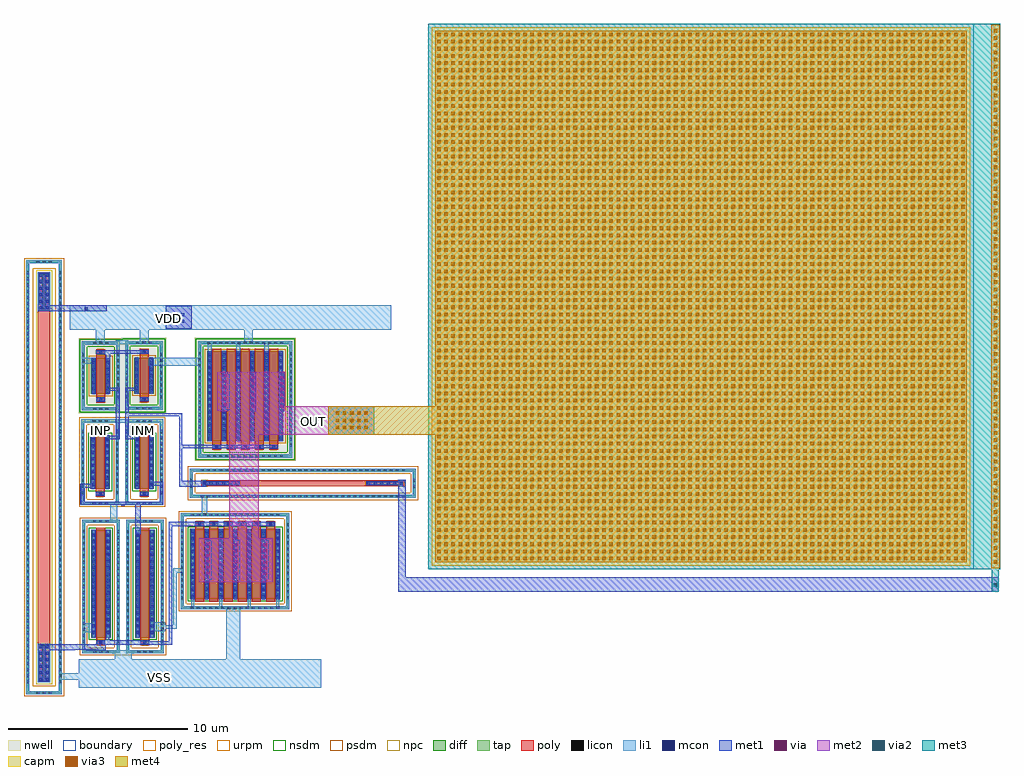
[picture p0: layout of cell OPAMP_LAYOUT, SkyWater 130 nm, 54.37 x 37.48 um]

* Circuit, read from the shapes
.subckt OPAMP_LAYOUT INM INP OUT VDD VSS
XM1 n1 INP n2 VSS sky130_fd_pr__nfet_01v8 w=3 l=0.5
XM2 n3 n3 VSS VSS sky130_fd_pr__nfet_01v8 w=6 l=0.5
XM3 n2 INM n4 VSS sky130_fd_pr__nfet_01v8 w=3 l=0.5
XM4 VSS n3 n2 VSS sky130_fd_pr__nfet_01v8 w=6 l=0.5
XM5 OUT n3 VSS VSS sky130_fd_pr__nfet_01v8 w=3.91 l=0.5 m=6
XM6 n1 n1 VDD VDD sky130_fd_pr__pfet_01v8 w=2 l=0.5
XM7 VDD n1 n4 VDD sky130_fd_pr__pfet_01v8 w=2 l=0.5
XM8 OUT n4 VDD VDD sky130_fd_pr__pfet_01v8 w=5 l=0.5 m=5
XC9 OUT n5 sky130_fd_pr__cap_mim_m3_1 w=30 l=30
XR10 VDD n3 VSS sky130_fd_pr__res_xhigh_po w=0.69 l=18.58
R11 n5 n4 sky130_fd_pr__res_generic_po w=0.33 l=7
.ends

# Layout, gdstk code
from math import pi, radians
import gdstk
lib = gdstk.Library(unit=1e-6, precision=1e-09)
def R(c, l, rs):  # rectangles x0, y0, x1, y1
    for r in rs: c.add(gdstk.rectangle(r[:2], r[2:], *l))
def A(c, l, x, y, w, h, nx, ny, dx, dy):  # array of equal rectangles
    R(c, l, [(x+i*dx, y+j*dy, x+i*dx+w, y+j*dy+h) for i in range(nx) for j in range(ny)])
nwell = (64, 20)
diff = (65, 20)
tap = (65, 44)
poly_res = (66, 13)
poly = (66, 20)
licon = (66, 44)
li1 = (67, 20)
mcon = (67, 44)
met1 = (68, 20)
via = (68, 44)
met2 = (69, 20)
via2 = (69, 44)
met3 = (70, 20)
via3 = (70, 44)
met4 = (71, 20)
urpm = (79, 20)
capm = (89, 44)
nsdm = (93, 44)
psdm = (94, 20)
npc = (95, 20)
boundary = (235, 4)

sky130_fd_pr__nfet_01v8_ = lib.new_cell('sky130_fd_pr__nfet_01v8_3374SR')
R(sky130_fd_pr__nfet_01v8_, diff, [(-0.54,-1.5,0.54,1.5)])
R(sky130_fd_pr__nfet_01v8_, tap, [(-1.05,-2.37,1.05,-2.2), (-1.05,-2.2,-0.88,2.2), (0.88,-2.2,1.05,2.2), (-1.05,2.2,1.05,2.37)])
R(sky130_fd_pr__nfet_01v8_, poly, [(-0.25,-1.94,0.25,1.94)])
A(sky130_fd_pr__nfet_01v8_, licon, -0.425, -2.37, 0.17, 0.17, 3, 2, 0.34, 4.57)
A(sky130_fd_pr__nfet_01v8_, licon, -1.05, -1.785, 0.17, 0.17, 1, 11, 0, 0.34)
A(sky130_fd_pr__nfet_01v8_, licon, 0.88, -1.785, 0.17, 0.17, 1, 11, 0, 0.34)
A(sky130_fd_pr__nfet_01v8_, licon, -0.48, -1.275, 0.17, 0.17, 1, 8, 0, 0.34)
A(sky130_fd_pr__nfet_01v8_, licon, 0.31, -1.275, 0.17, 0.17, 1, 8, 0, 0.34)
R(sky130_fd_pr__nfet_01v8_, licon, [(-0.085,-1.86,0.085,-1.69), (-0.085,1.69,0.085,1.86)])
R(sky130_fd_pr__nfet_01v8_, li1, [(-1.05,-2.37,1.05,-2.2), (-1.05,-2.2,-0.88,2.2), (0.88,-2.2,1.05,2.2), (-0.25,-1.86,0.25,-1.69), (-0.48,-1.52,-0.31,1.52), (0.31,-1.52,0.48,1.52), (-0.25,1.69,0.25,1.86), (-1.05,2.2,1.05,2.37)])
A(sky130_fd_pr__nfet_01v8_, mcon, -0.48, -1.345, 0.17, 0.17, 1, 8, 0, 0.36)
A(sky130_fd_pr__nfet_01v8_, mcon, 0.31, -1.345, 0.17, 0.17, 1, 8, 0, 0.36)
R(sky130_fd_pr__nfet_01v8_, mcon, [(-0.085,-1.86,0.085,-1.69), (-0.085,1.69,0.085,1.86)])
R(sky130_fd_pr__nfet_01v8_, met1, [(-0.23,-1.89,0.23,-1.66), (-0.51,-1.5,-0.28,1.5), (0.28,-1.5,0.51,1.5), (-0.23,1.66,0.23,1.89)])
R(sky130_fd_pr__nfet_01v8_, nsdm, [(-0.665,-1.625,0.665,1.625)])
R(sky130_fd_pr__nfet_01v8_, psdm, [(-1.175,-2.495,1.175,-2.075), (-1.175,-2.075,-0.755,2.075), (0.755,-2.075,1.175,2.075), (-1.175,2.075,1.175,2.495)])
R(sky130_fd_pr__nfet_01v8_, npc, [(-0.185,-1.96,0.185,-1.59), (-0.185,1.59,0.185,1.96)])
R(sky130_fd_pr__nfet_01v8_, boundary, [(-0.96,-2.28,0.96,2.28)])

c_sky130_fd_pr__nfet_01v8_ = lib.new_cell('sky130_fd_pr__nfet_01v8_P56BSY')
R(c_sky130_fd_pr__nfet_01v8_, diff, [(-2.515,-2.11,2.515,1.8)])
R(c_sky130_fd_pr__nfet_01v8_, tap, [(-3.025,-2.67,3.025,-2.5), (-3.025,-2.5,-2.855,2.5), (2.855,-2.5,3.025,2.5), (-3.025,2.5,3.025,2.67)])
A(c_sky130_fd_pr__nfet_01v8_, poly, -2.225, -2.24, 0.5, 4.48, 6, 1, 0.79, 0)
A(c_sky130_fd_pr__nfet_01v8_, licon, -2.465, -2.67, 0.17, 0.17, 15, 2, 0.34, 5.17)
A(c_sky130_fd_pr__nfet_01v8_, licon, -3.025, -2.125, 0.17, 0.17, 1, 13, 0, 0.34)
A(c_sky130_fd_pr__nfet_01v8_, licon, 2.855, -2.125, 0.17, 0.17, 1, 13, 0, 0.34)
A(c_sky130_fd_pr__nfet_01v8_, licon, -2.455, -1.94, 0.17, 0.17, 7, 11, 0.79, 0.34)
A(c_sky130_fd_pr__nfet_01v8_, licon, -2.06, 1.99, 0.17, 0.17, 6, 1, 0.79, 0)
A(c_sky130_fd_pr__nfet_01v8_, li1, -2.455, -2.13, 0.17, 3.95, 7, 1, 0.79, 0)
A(c_sky130_fd_pr__nfet_01v8_, li1, -2.225, 1.99, 0.5, 0.17, 6, 1, 0.79, 0)
R(c_sky130_fd_pr__nfet_01v8_, li1, [(-3.025,-2.67,3.025,-2.5), (-3.025,-2.5,-2.855,2.5), (2.855,-2.5,3.025,2.5), (-3.025,2.5,3.025,2.67)])
A(c_sky130_fd_pr__nfet_01v8_, mcon, -2.455, -2.04, 0.17, 0.17, 7, 11, 0.79, 0.36)
A(c_sky130_fd_pr__nfet_01v8_, mcon, -2.06, 1.99, 0.17, 0.17, 6, 1, 0.79, 0)
A(c_sky130_fd_pr__nfet_01v8_, met1, -2.485, -2.11, 0.23, 3.91, 7, 1, 0.79, 0)
A(c_sky130_fd_pr__nfet_01v8_, met1, -2.205, 1.96, 0.46, 0.23, 6, 1, 0.79, 0)
R(c_sky130_fd_pr__nfet_01v8_, nsdm, [(-2.64,-2.235,2.64,1.925)])
R(c_sky130_fd_pr__nfet_01v8_, psdm, [(-3.15,-2.795,3.15,-2.375), (-3.15,-2.375,-2.73,2.375), (2.73,-2.375,3.15,2.375), (-3.15,2.375,3.15,2.795)])
A(c_sky130_fd_pr__nfet_01v8_, npc, -2.16, 1.89, 0.37, 0.37, 6, 1, 0.79, 0)
R(c_sky130_fd_pr__nfet_01v8_, boundary, [(-2.94,-2.585,2.94,2.585)])

c_sky130_fd_pr__nfet_01v8__ = lib.new_cell('sky130_fd_pr__nfet_01v8_TATN2L')
R(c_sky130_fd_pr__nfet_01v8__, diff, [(-0.54,-2.845,0.54,3.155)])
R(c_sky130_fd_pr__nfet_01v8__, tap, [(-1.05,-3.715,1.05,-3.545), (-1.05,-3.545,-0.88,3.545), (0.88,-3.545,1.05,3.545), (-1.05,3.545,1.05,3.715)])
R(c_sky130_fd_pr__nfet_01v8__, poly, [(-0.25,-3.285,0.25,3.285)])
A(c_sky130_fd_pr__nfet_01v8__, licon, -0.425, -3.715, 0.17, 0.17, 3, 2, 0.34, 7.26)
A(c_sky130_fd_pr__nfet_01v8__, licon, -1.05, -3.145, 0.17, 0.17, 1, 19, 0, 0.34)
A(c_sky130_fd_pr__nfet_01v8__, licon, 0.88, -3.145, 0.17, 0.17, 1, 19, 0, 0.34)
A(c_sky130_fd_pr__nfet_01v8__, licon, -0.48, -2.65, 0.17, 0.17, 1, 17, 0, 0.34)
A(c_sky130_fd_pr__nfet_01v8__, licon, 0.31, -2.65, 0.17, 0.17, 1, 17, 0, 0.34)
R(c_sky130_fd_pr__nfet_01v8__, licon, [(-0.085,-3.205,0.085,-3.035)])
R(c_sky130_fd_pr__nfet_01v8__, li1, [(-1.05,-3.715,1.05,-3.545), (-1.05,-3.545,-0.88,3.545), (0.88,-3.545,1.05,3.545), (-0.25,-3.205,0.25,-3.035), (-0.48,-2.865,-0.31,3.175), (0.31,-2.865,0.48,3.175), (-1.05,3.545,1.05,3.715)])
A(c_sky130_fd_pr__nfet_01v8__, mcon, -0.48, -2.63, 0.17, 0.17, 1, 16, 0, 0.36)
A(c_sky130_fd_pr__nfet_01v8__, mcon, 0.31, -2.63, 0.17, 0.17, 1, 16, 0, 0.36)
R(c_sky130_fd_pr__nfet_01v8__, mcon, [(-0.085,-3.205,0.085,-3.035)])
R(c_sky130_fd_pr__nfet_01v8__, met1, [(-0.23,-3.235,0.23,-3.005), (-0.51,-2.845,-0.28,3.155), (0.28,-2.845,0.51,3.155)])
R(c_sky130_fd_pr__nfet_01v8__, nsdm, [(-0.665,-2.97,0.665,3.28)])
R(c_sky130_fd_pr__nfet_01v8__, psdm, [(-1.175,-3.84,1.175,-3.42), (-1.175,-3.42,-0.755,3.42), (0.755,-3.42,1.175,3.42), (-1.175,3.42,1.175,3.84)])
R(c_sky130_fd_pr__nfet_01v8__, npc, [(-0.185,-3.305,0.185,-2.935)])
R(c_sky130_fd_pr__nfet_01v8__, boundary, [(-0.965,-3.63,0.965,3.63)])

sky130_fd_pr__pfet_01v8_ = lib.new_cell('sky130_fd_pr__pfet_01v8_PDYTS5')
R(sky130_fd_pr__pfet_01v8_, nwell, [(-1.23,-2.095,1.23,2.095)])
R(sky130_fd_pr__pfet_01v8_, diff, [(-0.54,-1,0.54,1)])
R(sky130_fd_pr__pfet_01v8_, tap, [(-1.05,-1.915,1.05,-1.745), (-1.05,-1.745,-0.88,1.745), (0.88,-1.745,1.05,1.745), (-1.05,1.745,1.05,1.915)])
R(sky130_fd_pr__pfet_01v8_, poly, [(-0.25,-1.485,0.25,1.485)])
A(sky130_fd_pr__pfet_01v8_, licon, -0.425, -1.915, 0.17, 0.17, 3, 2, 0.34, 3.66)
A(sky130_fd_pr__pfet_01v8_, licon, -1.05, -1.275, 0.17, 0.17, 1, 8, 0, 0.34)
A(sky130_fd_pr__pfet_01v8_, licon, 0.88, -1.275, 0.17, 0.17, 1, 8, 0, 0.34)
A(sky130_fd_pr__pfet_01v8_, licon, -0.48, -0.935, 0.17, 0.17, 1, 6, 0, 0.34)
A(sky130_fd_pr__pfet_01v8_, licon, 0.31, -0.935, 0.17, 0.17, 1, 6, 0, 0.34)
R(sky130_fd_pr__pfet_01v8_, licon, [(-0.085,-1.405,0.085,-1.235), (-0.085,1.235,0.085,1.405)])
R(sky130_fd_pr__pfet_01v8_, li1, [(-1.05,-1.915,1.05,-1.745), (-1.05,-1.745,-0.88,1.745), (0.88,-1.745,1.05,1.745), (-0.25,-1.405,0.25,-1.235), (-0.48,-1.02,-0.31,1.02), (0.31,-1.02,0.48,1.02), (-0.25,1.235,0.25,1.405), (-1.05,1.745,1.05,1.915)])
A(sky130_fd_pr__pfet_01v8_, mcon, -0.48, -0.805, 0.17, 0.17, 1, 5, 0, 0.36)
A(sky130_fd_pr__pfet_01v8_, mcon, 0.31, -0.805, 0.17, 0.17, 1, 5, 0, 0.36)
R(sky130_fd_pr__pfet_01v8_, mcon, [(-0.085,-1.405,0.085,-1.235), (-0.085,1.235,0.085,1.405)])
R(sky130_fd_pr__pfet_01v8_, met1, [(-0.23,-1.435,0.23,-1.205), (-0.51,-1,-0.28,1), (0.28,-1,0.51,1), (-0.23,1.205,0.23,1.435)])
R(sky130_fd_pr__pfet_01v8_, nsdm, [(-1.175,-2.04,1.175,-1.62), (-1.175,-1.62,-0.755,1.62), (0.755,-1.62,1.175,1.62), (-1.175,1.62,1.175,2.04)])
R(sky130_fd_pr__pfet_01v8_, psdm, [(-0.665,-1.125,0.665,1.125)])
R(sky130_fd_pr__pfet_01v8_, npc, [(-0.185,-1.505,0.185,-1.135), (-0.185,1.135,0.185,1.505)])
R(sky130_fd_pr__pfet_01v8_, boundary, [(-0.965,-1.83,0.965,1.83)])

c_sky130_fd_pr__pfet_01v8_ = lib.new_cell('sky130_fd_pr__pfet_01v8_U25TY6')
R(c_sky130_fd_pr__pfet_01v8_, nwell, [(-2.81,-3.42,2.81,3.42)])
R(c_sky130_fd_pr__pfet_01v8_, diff, [(-2.12,-2.32,2.12,2.68)])
R(c_sky130_fd_pr__pfet_01v8_, tap, [(-2.63,-3.24,2.63,-3.07), (-2.63,-3.07,-2.46,3.07), (2.46,-3.07,2.63,3.07), (-2.63,3.07,2.63,3.24)])
A(c_sky130_fd_pr__pfet_01v8_, poly, -1.83, -2.805, 0.5, 5.615, 5, 1, 0.79, 0)
A(c_sky130_fd_pr__pfet_01v8_, licon, -2.125, -3.24, 0.17, 0.17, 13, 2, 0.34, 6.31)
A(c_sky130_fd_pr__pfet_01v8_, licon, -1.665, -2.725, 0.17, 0.17, 5, 1, 0.79, 0)
A(c_sky130_fd_pr__pfet_01v8_, licon, -2.63, -2.635, 0.17, 0.17, 1, 16, 0, 0.34)
A(c_sky130_fd_pr__pfet_01v8_, licon, 2.46, -2.635, 0.17, 0.17, 1, 16, 0, 0.34)
A(c_sky130_fd_pr__pfet_01v8_, licon, -2.06, -2.115, 0.17, 0.17, 6, 14, 0.79, 0.34)
A(c_sky130_fd_pr__pfet_01v8_, li1, -1.83, -2.725, 0.5, 0.17, 5, 1, 0.79, 0)
A(c_sky130_fd_pr__pfet_01v8_, li1, -2.06, -2.34, 0.17, 5.04, 6, 1, 0.79, 0)
R(c_sky130_fd_pr__pfet_01v8_, li1, [(-2.63,-3.24,2.63,-3.07), (-2.63,-3.07,-2.46,3.07), (2.46,-3.07,2.63,3.07), (-2.63,3.07,2.63,3.24)])
A(c_sky130_fd_pr__pfet_01v8_, mcon, -1.665, -2.725, 0.17, 0.17, 5, 1, 0.79, 0)
A(c_sky130_fd_pr__pfet_01v8_, mcon, -2.06, -2.245, 0.17, 0.17, 6, 14, 0.79, 0.36)
A(c_sky130_fd_pr__pfet_01v8_, met1, -1.81, -2.755, 0.46, 0.23, 5, 1, 0.79, 0)
A(c_sky130_fd_pr__pfet_01v8_, met1, -2.09, -2.32, 0.23, 5, 6, 1, 0.79, 0)
R(c_sky130_fd_pr__pfet_01v8_, nsdm, [(-2.755,-3.365,2.755,-2.945), (-2.755,-2.945,-2.335,2.945), (2.335,-2.945,2.755,2.945), (-2.755,2.945,2.755,3.365)])
R(c_sky130_fd_pr__pfet_01v8_, psdm, [(-2.245,-2.445,2.245,2.805)])
A(c_sky130_fd_pr__pfet_01v8_, npc, -1.765, -2.825, 0.37, 0.37, 5, 1, 0.79, 0)
R(c_sky130_fd_pr__pfet_01v8_, boundary, [(-2.545,-3.155,2.545,3.155)])

sky130_fd_pr__res_generi = lib.new_cell('sky130_fd_pr__res_generic_po_VBMG2T')
R(sky130_fd_pr__res_generi, tap, [(-0.815,-6.3,0.815,-6.13), (-0.815,-6.13,-0.645,6.13), (0.645,-6.13,0.815,6.13), (-0.815,6.13,0.815,6.3)])
R(sky130_fd_pr__res_generi, poly_res, [(-0.165,-3.5,0.165,3.5)])
R(sky130_fd_pr__res_generi, poly, [(-0.165,-5.65,0.165,5.65)])
A(sky130_fd_pr__res_generi, licon, -0.815, -5.695, 0.17, 0.17, 1, 34, 0, 0.34)
A(sky130_fd_pr__res_generi, licon, 0.645, -5.695, 0.17, 0.17, 1, 34, 0, 0.34)
R(sky130_fd_pr__res_generi, licon, [(-0.255,-6.3,-0.085,-6.13), (0.085,-6.3,0.255,-6.13), (-0.085,-5.57,0.085,-5.4), (-0.085,5.4,0.085,5.57), (-0.255,6.13,-0.085,6.3), (0.085,6.13,0.255,6.3)])
R(sky130_fd_pr__res_generi, li1, [(-0.815,-6.3,0.815,-6.13), (-0.815,-6.13,-0.645,6.13), (0.645,-6.13,0.815,6.13), (-0.165,-5.57,0.165,-5.4), (-0.085,-5.4,0.085,-3.585), (-0.085,3.585,0.085,5.4), (-0.165,5.4,0.165,5.57), (-0.815,6.13,0.815,6.3)])
A(sky130_fd_pr__res_generi, mcon, -0.085, -5.565, 0.17, 0.17, 1, 6, 0, 0.36)
A(sky130_fd_pr__res_generi, mcon, -0.085, 3.59, 0.17, 0.17, 1, 6, 0, 0.36)
R(sky130_fd_pr__res_generi, met1, [(-0.115,-5.63,0.115,-3.525), (-0.115,3.525,0.115,5.63)])
R(sky130_fd_pr__res_generi, psdm, [(-0.94,-6.425,0.94,-6.005), (-0.94,-6.005,-0.52,6.005), (0.52,-6.005,0.94,6.005), (-0.94,6.005,0.94,6.425)])
R(sky130_fd_pr__res_generi, npc, [(-0.185,-5.67,0.185,-5.3), (-0.185,5.3,0.185,5.67)])
R(sky130_fd_pr__res_generi, boundary, [(-0.73,-6.215,0.73,6.215)])

sky130_fd_pr__res_xhigh_ = lib.new_cell('sky130_fd_pr__res_xhigh_po_0p69_AV7KHZ')
R(sky130_fd_pr__res_xhigh_, tap, [(-0.995,-12.08,0.995,-11.91), (-0.995,-11.91,-0.825,11.91), (0.825,-11.91,0.995,11.91), (-0.995,11.91,0.995,12.08)])
R(sky130_fd_pr__res_xhigh_, poly_res, [(-0.345,-9.35,0.345,9.35)])
R(sky130_fd_pr__res_xhigh_, poly, [(-0.345,-11.43,0.345,11.43)])
A(sky130_fd_pr__res_xhigh_, licon, -0.425, -12.08, 0.17, 0.17, 3, 2, 0.34, 23.99)
A(sky130_fd_pr__res_xhigh_, licon, -0.995, -11.475, 0.17, 0.17, 1, 68, 0, 0.34)
A(sky130_fd_pr__res_xhigh_, licon, 0.825, -11.475, 0.17, 0.17, 1, 68, 0, 0.34)
R(sky130_fd_pr__res_xhigh_, licon, [(-0.095,-11.35,0.095,-9.35), (-0.095,9.35,0.095,11.35)])
R(sky130_fd_pr__res_xhigh_, li1, [(-0.995,-12.08,0.995,-11.91), (-0.995,-11.91,-0.825,11.91), (0.825,-11.91,0.995,11.91), (-0.345,-11.43,0.345,-9.27), (-0.345,9.27,0.345,11.43), (-0.995,11.91,0.995,12.08)])
A(sky130_fd_pr__res_xhigh_, mcon, -0.265, -11.335, 0.17, 0.17, 1, 6, 0, 0.36)
A(sky130_fd_pr__res_xhigh_, mcon, 0.095, -11.335, 0.17, 0.17, 1, 6, 0, 0.36)
A(sky130_fd_pr__res_xhigh_, mcon, -0.265, 9.36, 0.17, 0.17, 1, 6, 0, 0.36)
A(sky130_fd_pr__res_xhigh_, mcon, 0.095, 9.36, 0.17, 0.17, 1, 6, 0, 0.36)
R(sky130_fd_pr__res_xhigh_, met1, [(-0.295,-11.4,0.295,-9.295), (-0.295,9.295,0.295,11.4)])
R(sky130_fd_pr__res_xhigh_, urpm, [(-0.635,-11.63,0.635,11.63)])
R(sky130_fd_pr__res_xhigh_, psdm, [(-1.12,-12.205,1.12,12.205)])
R(sky130_fd_pr__res_xhigh_, npc, [(-0.44,-11.525,0.44,11.525)])
R(sky130_fd_pr__res_xhigh_, boundary, [(-0.91,-11.995,0.91,11.995)])

sky130_fd_pr__cap_mim_m3 = lib.new_cell('sky130_fd_pr__cap_mim_m3_1_LJ5JLG')
R(sky130_fd_pr__cap_mim_m3, met3, [(-15.93,-15.2,15.93,15.2)])
A(sky130_fd_pr__cap_mim_m3, via3, 15.57, -14.9, 0.2, 0.2, 1, 75, 0, 0.4)
A(sky130_fd_pr__cap_mim_m3, via3, -15.43, -14.7, 0.2, 0.2, 74, 74, 0.4, 0.4)
R(sky130_fd_pr__cap_mim_m3, met4, [(15.43,-15.14,15.91,15.14), (-15.535,-14.805,14.075,14.805)])
R(sky130_fd_pr__cap_mim_m3, capm, [(-15.73,-15,14.27,15)])
R(sky130_fd_pr__cap_mim_m3, boundary, [(-15.93,-15.2,14.47,15.2)])

opamp_layout = lib.new_cell('OPAMP_LAYOUT')
A(opamp_layout, li1, 6, -11.17, 0.17, 0.81, 4, 1, 1.58, 0)
A(opamp_layout, li1, 6.93, 2.87, 0.23, 0.89, 3, 1, 1.58, 0)
R(opamp_layout, li1, [(-0.25,-15.55,13.25,-15.1), (-1.35,-15.1,13.25,-14.74), (-1.35,-14.74,-0.82,-14.73), (-0.25,-14.74,13.25,-13.95), (1.75,-13.95,2.7,-13.65), (7.95,-13.95,8.75,-11), (1.65,-13.65,2.8,-13.45), (-0.05,-12.45,0.65,-11.95), (3.85,-12.4,4.55,-12.25), (3.85,-12.25,5.2,-12.05), (3.85,-12.05,4.55,-11.9), (5,-12.05,5.2,-9.15), (5,-9.15,5.6,-8.9), (1.5,-6.3,1.9,-5.345), (6.6,-6,6.9,-4.8), (2.1,-5.4,2.31,-5.345), (1.5,-5.345,2.565,-5.2), (1.74,-5.2,2.565,-5.17), (1.745,-0.77,2.57,-0.595), (3.64,2.4,6.56,2.85), (-0.1,2.5,0.7,2.85), (0.7,3.6,1.2,4.4), (1.75,3.6,2.65,3.75), (3.15,3.6,3.65,4.4), (8.95,3.6,9.45,4.4), (1.8,3.75,2.5,3.8), (-0.75,4.4,17.15,5.75)])
R(opamp_layout, mcon, [(5.08,4.795,5.25,4.965), (5.44,4.795,5.61,4.965), (5.08,5.155,5.25,5.325), (5.44,5.155,5.61,5.325), (0.075,5.475,0.245,5.645)])
R(opamp_layout, met1, [(-2.54,-13.45,-0.47,-13.44), (0.75,-13.45,1.21,-13.44), (-2.54,-13.44,1.26,-13.15), (-2.54,-13.15,4.95,-13.13), (0.75,-13.13,4.95,-12.95), (0.75,-12.95,3.7,-12.9), (4.75,-12.95,4.95,-6.55), (1.25,-12.9,1.45,-12.55), (17.55,-10.2,51,-9.4), (6.78,-9.54,7.16,-7.32), (8.37,-9.52,8.75,-9.31), (9.95,-9.51,10.33,-7.29), (17.55,-9.4,17.95,-3.95), (8.36,-9.31,8.75,-7.42), (8.37,-7.42,8.75,-7.3), (2.9,-7,3.2,-5.35), (4.75,-6.55,5.25,-6.54), (4.75,-6.54,10.66,-6.31), (4.75,-6.31,5.25,-6.3), (-0.17,-5.35,4.44,-5.18), (-0.17,-5.18,4.45,-5.17), (-0.17,-5.17,0.07,-4.41), (4.26,-5.17,4.45,-4.3), (-0.17,-4.41,0.63,-4.17), (5.35,-4.35,6.85,-4), (3.7,-4.3,4.45,-4.06), (5.35,-4,5.5,-2.21), (5.35,-2.21,10.82,-2.01), (5.35,-2.01,5.51,-0.42), (1.22,-1.7,2.02,-1.52), (2.33,-1.69,3.1,-1.51), (1.81,-1.52,2.02,1), (2.33,-1.51,2.54,-0.42), (0.77,-1.29,1.12,-1.07), (3.18,-1.28,3.6,-1.07), (2.33,-0.42,5.51,-0.25), (2.33,-0.25,2.54,1), (9.33,-0.15,9.62,2.07), (10.91,-0.15,11.2,2.07), (7.75,-0.09,8.16,0.49), (7.74,0.49,8.16,1.92), (1.25,1,2.02,1.18), (2.33,1,3.09,1.18), (7.74,1.92,8.05,2.07), (1.25,2.65,1.49,3.035), (1.11,3.035,1.49,3.05), (0.7,3.05,3.65,3.25), (4.59,4.46,6.03,5.74), (-0.9,5.42,1.3,5.43), (-2.55,5.43,1.3,5.75)])
A(opamp_layout, via, 10.01, -9.25, 0.15, 0.15, 1, 6, 0, 0.32)
A(opamp_layout, via, 8.42, -9.24, 0.15, 0.15, 1, 6, 0, 0.32)
A(opamp_layout, via, 6.84, -9.23, 0.15, 0.15, 1, 6, 0, 0.32)
A(opamp_layout, via, 10.975, 0.05, 0.15, 0.15, 1, 6, 0, 0.32)
A(opamp_layout, via, 9.395, 0.06, 0.15, 0.15, 1, 6, 0, 0.32)
A(opamp_layout, via, 7.81, 0.155, 0.15, 0.15, 1, 6, 0, 0.32)
R(opamp_layout, via, [(50.725,-9.9,50.875,-9.75)])
R(opamp_layout, met2, [(50.6,-10.2,51,-9.4), (6.42,-9.68,10.56,-7.21), (8.13,-7.21,9.78,-1.45), (8.1,-1.45,16.2,-0.15), (7.47,-0.15,16.2,0.15), (7.47,0.15,11.26,2.07)])
A(opamp_layout, via2, 14.05, -1.15, 0.2, 0.2, 5, 3, 0.4, 0.4)
R(opamp_layout, via2, [(50.7,-9.925,50.9,-9.725)])
R(opamp_layout, met3, [(50.6,-10.2,51,-6.9), (13.65,-1.45,16.2,0.15)])
A(opamp_layout, via3, 14.05, -1.15, 0.2, 0.2, 5, 3, 0.4, 0.4)
R(opamp_layout, met4, [(13.65,-1.45,21.75,0.15)])
R(opamp_layout, nsdm, [(2.14,-0.195,2.205,3.87)])
R(opamp_layout, psdm, [(2.155,-13.745,2.255,-6.065), (2.11,-5.465,2.215,-0.475)])
opamp_layout.add(gdstk.Reference(sky130_fd_pr__nfet_01v8_, (3.39,-2.97)))
opamp_layout.add(gdstk.Reference(sky130_fd_pr__nfet_01v8_, (0.935,-2.97)))
opamp_layout.add(gdstk.Reference(c_sky130_fd_pr__nfet_01v8_, (8.455,-8.5)))
opamp_layout.add(gdstk.Reference(c_sky130_fd_pr__nfet_01v8__, (3.43,-9.905)))
opamp_layout.add(gdstk.Reference(c_sky130_fd_pr__nfet_01v8__, (0.98,-9.905)))
opamp_layout.add(gdstk.Reference(sky130_fd_pr__pfet_01v8_, (3.38,1.845)))
opamp_layout.add(gdstk.Reference(sky130_fd_pr__pfet_01v8_, (0.965,1.83)))
opamp_layout.add(gdstk.Reference(c_sky130_fd_pr__pfet_01v8_, (9.02,0.52)))
opamp_layout.add(gdstk.Reference(sky130_fd_pr__res_generi, (12.23,-4.155), rotation=3*pi/2))
opamp_layout.add(gdstk.Reference(sky130_fd_pr__res_xhigh_, (-2.185,-3.82)))
opamp_layout.add(gdstk.Reference(sky130_fd_pr__cap_mim_m3, (35.13,6.25)))
opamp_layout.add(gdstk.Label('VDD', (4.77,5), layer=68, texttype=5))
opamp_layout.add(gdstk.Label('INP', (0.93,-1.21), layer=68, texttype=5))
opamp_layout.add(gdstk.Label('INM', (3.37,-1.21), layer=68, texttype=5))
opamp_layout.add(gdstk.Label('VSS', (4.25,-14.96), layer=67, texttype=5))
opamp_layout.add(gdstk.Label('OUT', (12.8,-0.72), layer=69, texttype=5))

lib.write_gds('OPAMP_LAYOUT.gds')
